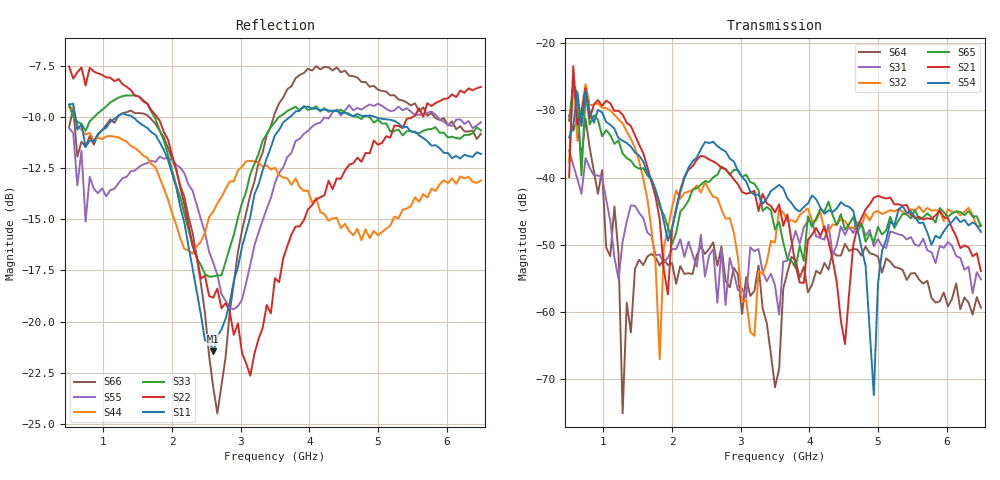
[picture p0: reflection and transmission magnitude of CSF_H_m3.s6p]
!Keysight Technologies,M9804A,MY58100912,A.14.10.03
!Date: Thursday, April 27, 2023 10:28:33
!Correction: S11(C  6-Port  )
!S12(C  6-Port  )
!S13(C  6-Port  )
!S14(C  6-Port  )
!S15(C  6-Port  )
!S16(C  6-Port  )
!S21(C  6-Port  )
!S22(C  6-Port  )
!S23(C  6-Port  )
!S24(C  6-Port  )
!S25(C  6-Port  )
!S26(C  6-Port  )
!S31(C  6-Port  )
!S32(C  6-Port  )
!S33(C  6-Port  )
!S34(C  6-Port  )
!S35(C  6-Port  )
!S36(C  6-Port  )
!S41(C  6-Port  )
!S42(C  6-Port  )
!S43(C  6-Port  )
!S44(C  6-Port  )
!S45(C  6-Port  )
!S46(C  6-Port  )
!S51(C  6-Port  )
!S52(C  6-Port  )
!S53(C  6-Port  )
!S54(C  6-Port  )
!S55(C  6-Port  )
!S56(C  6-Port  )
!S61(C  6-Port  )
!S62(C  6-Port  )
!S63(C  6-Port  )
!S64(C  6-Port  )
!S65(C  6-Port  )
!S66(C  6-Port  )
!S6P File: Measurement: :
# Hz S  RI  R 50
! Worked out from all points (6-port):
!   101 points, 500 MHz to 6.5 GHz, reference 50 ohm
!   strongest paths, dB at 500 MHz, 2 GHz, 3.5 GHz, 5 GHz, 6.5 GHz:
!     S54: -34.0, -47.5, -41.6, -55.9, -48.1
!     S21: -39.9, -47.7, -45.2, -42.7, -53.9
!     S65: -31.5, -49.9, -47.8, -47.3, -47.2
!     S32: -37.7, -44.4, -49.7, -45.0, -47.2
!     S31: -36.0, -50.7, -56.1, -49.2, -55.2
!     S64: -30.8, -52.7, -71.3, -51.8, -59.4
!   lowest |S11| = -21.5 dB at 2.6 GHz (marker M1), VSWR 1.18, Z = 42.5 + j2.12 ohm
!   |S11| at or under -10 dB: 591.3 MHz to 1.193 GHz (601.9 MHz wide, 67.5 % of centre); 1.429 GHz to 3.713 GHz (2.284 GHz wide, 88.9 % of centre); 4.971 GHz to end of sweep
